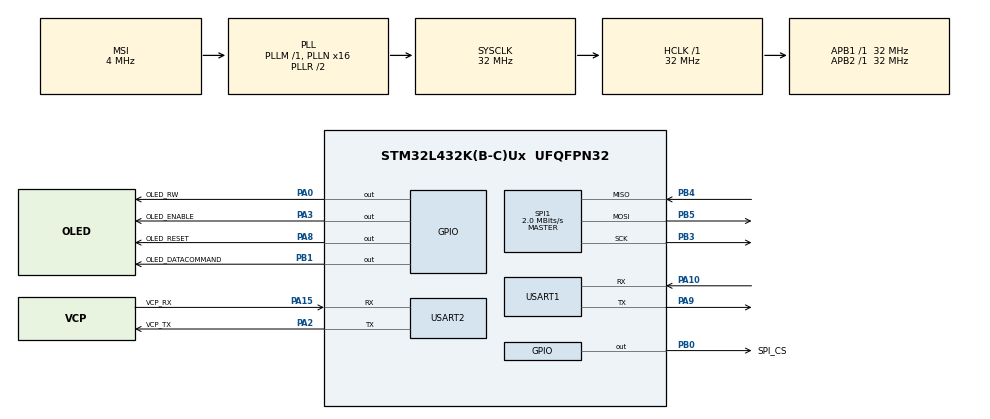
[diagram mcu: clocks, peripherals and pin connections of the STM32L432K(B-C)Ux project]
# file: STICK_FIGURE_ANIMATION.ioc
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Dma.Request0=USART1_TX
Dma.Request1=USART1_RX
Dma.USART1_RX.1.Direction=DMA_PERIPH_TO_MEMORY
Dma.USART1_RX.1.Instance=DMA1_Channel5
Dma.USART1_RX.1.MemDataAlignment=DMA_MDATAALIGN_BYTE
Dma.USART1_RX.1.MemInc=DMA_MINC_ENABLE
Dma.USART1_RX.1.Mode=DMA_CIRCULAR
Dma.USART1_RX.1.PeriphDataAlignment=DMA_PDATAALIGN_BYTE
Dma.USART1_RX.1.PeriphInc=DMA_PINC_DISABLE
Dma.USART1_RX.1.Priority=DMA_PRIORITY_LOW
Dma.USART1_TX.0.Direction=DMA_MEMORY_TO_PERIPH
Dma.USART1_TX.0.Instance=DMA1_Channel4
Dma.USART1_TX.0.MemDataAlignment=DMA_MDATAALIGN_BYTE
Dma.USART1_TX.0.MemInc=DMA_MINC_ENABLE
Dma.USART1_TX.0.Mode=DMA_NORMAL
Dma.USART1_TX.0.PeriphDataAlignment=DMA_PDATAALIGN_BYTE
Dma.USART1_TX.0.PeriphInc=DMA_PINC_DISABLE
Dma.USART1_TX.0.Priority=DMA_PRIORITY_LOW
FREERTOS.Mutexes01=m_oled_anim_spd,Static,m_oled_anim_spdControlBlock;m_oled_color_shft,Static,m_oled_color_shftControlBlock;m_wifi_transmit,Static,m_wifi_transmitControlBlock;m_wifi_received,Static,m_wifi_receivedControlBlock
FREERTOS.Tasks01=OledDisplayTask,24,256,StartOledDisplayTask,Default,NULL,Static,OledDisplayTaskBuffer,OledDisplayTaskControlBlock;WifiConnectTask,24,512,StartWifiConnectTask,Default,NULL,Static,WifiConnectTaskBuffer,WifiConnectTaskControlBlock;MsgHandleTask,24,512,StartMsgHandleTask,Default,NULL,Static,MsgHandleTaskBuffer,MsgHandleTaskControlBlock
FREERTOS.configUSE_NEWLIB_REENTRANT=1
Mcu.Family=STM32L4
Mcu.Name=STM32L432K(B-C)Ux
Mcu.Package=UFQFPN32
NVIC.DMA1_Channel4_IRQn=true\:5\:0\:false\:false\:true\:true\:false\:true\:true
NVIC.DMA1_Channel5_IRQn=true\:5\:0\:false\:false\:true\:true\:false\:true\:true
NVIC.PriorityGroup=NVIC_PRIORITYGROUP_4
NVIC.TIM6_DAC_IRQn=true\:15\:0\:false\:false\:true\:false\:false\:true\:true
NVIC.TimeBase=TIM6_DAC_IRQn
NVIC.TimeBaseIP=TIM6
NVIC.USART1_IRQn=true\:5\:0\:false\:false\:true\:true\:true\:true\:true
NVIC.USART2_IRQn=true\:5\:0\:false\:false\:true\:true\:true\:true\:true
PA0.GPIO_Label=OLED_RW
PA0.Signal=GPIO_Output
PA10.Mode=Asynchronous
PA10.Signal=USART1_RX
PA13\ (JTMS-SWDIO).GPIO_Label=SWDIO
PA13\ (JTMS-SWDIO).Mode=Serial_Wire
PA13\ (JTMS-SWDIO).Signal=SYS_JTMS-SWDIO
PA14\ (JTCK-SWCLK).GPIO_Label=SWCLK
PA14\ (JTCK-SWCLK).Mode=Serial_Wire
PA14\ (JTCK-SWCLK).Signal=SYS_JTCK-SWCLK
PA15\ (JTDI).GPIO_Label=VCP_RX
PA15\ (JTDI).Mode=Asynchronous
PA15\ (JTDI).Signal=USART2_RX
PA2.GPIO_Label=VCP_TX
PA2.Mode=Asynchronous
PA2.Signal=USART2_TX
PA3.GPIO_Label=OLED_ENABLE
PA3.PinState=GPIO_PIN_SET
PA3.Signal=GPIO_Output
PA8.GPIO_Label=OLED_RESET
PA8.PinState=GPIO_PIN_SET
PA8.Signal=GPIO_Output
PA9.Mode=Asynchronous
PA9.Signal=USART1_TX
PB0.GPIO_Label=SPI_CS
PB0.Signal=GPIO_Output
PB1.GPIO_Label=OLED_DATACOMMAND
PB1.PinState=GPIO_PIN_SET
PB1.Signal=GPIO_Output
PB3\ (JTDO-TRACESWO).Mode=Full_Duplex_Master
PB3\ (JTDO-TRACESWO).Signal=SPI1_SCK
PB4\ (NJTRST).Mode=Full_Duplex_Master
PB4\ (NJTRST).Signal=SPI1_MISO
PB5.Mode=Full_Duplex_Master
PB5.Signal=SPI1_MOSI
PC14-OSC32_IN\ (PC14).Mode=LSE-External-Oscillator
PC14-OSC32_IN\ (PC14).Signal=RCC_OSC32_IN
PC15-OSC32_OUT\ (PC15).Mode=LSE-External-Oscillator
PC15-OSC32_OUT\ (PC15).Signal=RCC_OSC32_OUT
ProjectManager.HeapSize=0x200
ProjectManager.StackSize=0x400
ProjectManager.TargetToolchain=STM32CubeIDE
RCC.AHBFreq_Value=32000000
RCC.APB1Freq_Value=32000000
RCC.APB1TimFreq_Value=32000000
RCC.APB2Freq_Value=32000000
RCC.APB2TimFreq_Value=32000000
RCC.CortexFreq_Value=32000000
RCC.HCLKFreq_Value=32000000
RCC.HSE_VALUE=8000000
RCC.HSI16_VALUE=16000000
RCC.HSI48_VALUE=48000000
RCC.HSI_VALUE=16000000
RCC.MSI_VALUE=4000000
RCC.PLLMUL=RCC_PLLMUL_4
RCC.PLLN=16
RCC.SYSCLKFreq_VALUE=32000000
RCC.SYSCLKSource=RCC_SYSCLKSOURCE_PLLCLK
RCC.VCOOutputFreq_Value=64000000
SPI1.BaudRatePrescaler=SPI_BAUDRATEPRESCALER_16
SPI1.CalculateBaudRate=2.0 MBits/s
SPI1.DataSize=SPI_DATASIZE_8BIT
SPI1.Direction=SPI_DIRECTION_2LINES
SPI1.Mode=SPI_MODE_MASTER
SPI1.VirtualType=VM_MASTER
USART1.VirtualMode-Asynchronous=VM_ASYNC
USART2.VirtualMode-Asynchronous=VM_ASYNC
VP_FREERTOS_VS_CMSIS_V2.Mode=CMSIS_V2
VP_SYS_VS_tim6.Mode=TIM6
board=NUCLEO-L432KC

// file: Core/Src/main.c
/* USER CODE BEGIN Header */
/**
 ******************************************************************************
 * @file           : main.c
 * @brief          : Main program body
 ******************************************************************************
 * @attention
 *
 * Copyright (c) 2022 Michael Kirchhofer - FH Technikum Wien
 *
 * This program utilises the Mikroe OLED C-, as well as the ESP32Wroom Click
 * to display a short animation on the OLED Module. The User can use a Axis-
 * Input on the partner MCU to invert the colour of the LED Display, as well as
 * the animation speed.
 *
 ******************************************************************************
 */
/* USER CODE END Header */
#include "main.h"
#include "cmsis_os.h"

/* USER CODE BEGIN Includes */
#include <stdbool.h>
#include <stdio.h>
#include <string.h>
#include <stdlib.h>
#include "wifi_cmd.h"
#include "oled_c_cmd.h"
#include "oled_c_image.h"
#include "oled_ssd1351.h"
/* USER CODE END Includes */

typedef StaticTask_t osStaticThreadDef_t;
typedef StaticSemaphore_t osStaticMutexDef_t;

 SPI_HandleTypeDef hspi1;

UART_HandleTypeDef huart1;
UART_HandleTypeDef huart2;
DMA_HandleTypeDef hdma_usart1_tx;
DMA_HandleTypeDef hdma_usart1_rx;

/* Definitions for OledDisplayTask */
osThreadId_t OledDisplayTaskHandle;
uint32_t OledDisplayTaskBuffer[ 256 ];
osStaticThreadDef_t OledDisplayTaskControlBlock;
const osThreadAttr_t OledDisplayTask_attributes = {
  .name = "OledDisplayTask",
  .cb_mem = &OledDisplayTaskControlBlock,
  .cb_size = sizeof(OledDisplayTaskControlBlock),
  .stack_mem = &OledDisplayTaskBuffer[0],
  .stack_size = sizeof(OledDisplayTaskBuffer),
  .priority = (osPriority_t) osPriorityNormal,
};
/* Definitions for WifiConnectTask */
osThreadId_t WifiConnectTaskHandle;
uint32_t WifiConnectTaskBuffer[ 512 ];
osStaticThreadDef_t WifiConnectTaskControlBlock;
const osThreadAttr_t WifiConnectTask_attributes = {
  .name = "WifiConnectTask",
  .cb_mem = &WifiConnectTaskControlBlock,
  .cb_size = sizeof(WifiConnectTaskControlBlock),
  .stack_mem = &WifiConnectTaskBuffer[0],
  .stack_size = sizeof(WifiConnectTaskBuffer),
  .priority = (osPriority_t) osPriorityNormal,
};
/* Definitions for MsgHandleTask */
osThreadId_t MsgHandleTaskHandle;
uint32_t MsgHandleTaskBuffer[ 512 ];
osStaticThreadDef_t MsgHandleTaskControlBlock;
const osThreadAttr_t MsgHandleTask_attributes = {
  .name = "MsgHandleTask",
  .cb_mem = &MsgHandleTaskControlBlock,
  .cb_size = sizeof(MsgHandleTaskControlBlock),
  .stack_mem = &MsgHandleTaskBuffer[0],
  .stack_size = sizeof(MsgHandleTaskBuffer),
  .priority = (osPriority_t) osPriorityNormal,
};
/* Definitions for m_oled_anim_spd */
osMutexId_t m_oled_anim_spdHandle;
osStaticMutexDef_t m_oled_anim_spdControlBlock;
const osMutexAttr_t m_oled_anim_spd_attributes = {
  .name = "m_oled_anim_spd",
  .cb_mem = &m_oled_anim_spdControlBlock,
  .cb_size = sizeof(m_oled_anim_spdControlBlock),
};
/* Definitions for m_oled_color_shft */
osMutexId_t m_oled_color_shftHandle;
osStaticMutexDef_t m_oled_color_shftControlBlock;
const osMutexAttr_t m_oled_color_shft_attributes = {
  .name = "m_oled_color_shft",
  .cb_mem = &m_oled_color_shftControlBlock,
  .cb_size = sizeof(m_oled_color_shftControlBlock),
};
/* Definitions for m_wifi_transmit */
osMutexId_t m_wifi_transmitHandle;
osStaticMutexDef_t m_wifi_transmitControlBlock;
const osMutexAttr_t m_wifi_transmit_attributes = {
  .name = "m_wifi_transmit",
  .cb_mem = &m_wifi_transmitControlBlock,
  .cb_size = sizeof(m_wifi_transmitControlBlock),
};
/* Definitions for m_wifi_received */
osMutexId_t m_wifi_receivedHandle;
osStaticMutexDef_t m_wifi_receivedControlBlock;
const osMutexAttr_t m_wifi_received_attributes = {
  .name = "m_wifi_received",
  .cb_mem = &m_wifi_receivedControlBlock,
  .cb_size = sizeof(m_wifi_receivedControlBlock),
};
/* USER CODE BEGIN PV */

static uint32_t g_oled_anim_spd = OLED_ANIM_SPD_DFLT;
static bool g_oled_color_shft = false;
static bool g_wifi_transmit = false;
static bool g_wifi_received = false;

/* USER CODE END PV */

void SystemClock_Config(void);
static void MX_GPIO_Init(void);
static void MX_USART2_UART_Init(void);
static void MX_DMA_Init(void);
static void MX_USART1_UART_Init(void);
static void MX_SPI1_Init(void);
void StartOledDisplayTask(void *argument);
void StartWifiConnectTask(void *argument);
void StartMsgHandleTask(void *argument);

/* USER CODE BEGIN PFP */
uint16_t __io_putchar(uint16_t ch);
uint16_t _write(uint16_t file, char *buf, uint16_t len);

/* USER CODE END PFP */

int main(void)
{

  /* MCU Configuration--------------------------------------------------------*/

  /* Reset of all peripherals, Initializes the Flash interface and the Systick. */
  HAL_Init();

  /* Configure the system clock */
  SystemClock_Config();

  /* Initialize all configured peripherals */
  MX_GPIO_Init();
  MX_USART2_UART_Init();
  MX_DMA_Init();
  MX_USART1_UART_Init();
  MX_SPI1_Init();
  /* USER CODE BEGIN 2 */
  SSD1351_Init();

  /* USER CODE END 2 */

  /* Init scheduler */
  osKernelInitialize();
  /* Create the mutex(es) */
  /* creation of m_oled_anim_spd */
  m_oled_anim_spdHandle = osMutexNew(&m_oled_anim_spd_attributes);

  /* creation of m_oled_color_shft */
  m_oled_color_shftHandle = osMutexNew(&m_oled_color_shft_attributes);

  /* creation of m_wifi_transmit */
  m_wifi_transmitHandle = osMutexNew(&m_wifi_transmit_attributes);

  /* creation of m_wifi_received */
  m_wifi_receivedHandle = osMutexNew(&m_wifi_received_attributes);

  /* Create the thread(s) */
  /* creation of OledDisplayTask */
  OledDisplayTaskHandle = osThreadNew(StartOledDisplayTask, NULL, &OledDisplayTask_attributes);

  /* creation of WifiConnectTask */
  WifiConnectTaskHandle = osThreadNew(StartWifiConnectTask, NULL, &WifiConnectTask_attributes);

  /* creation of MsgHandleTask */
  MsgHandleTaskHandle = osThreadNew(StartMsgHandleTask, NULL, &MsgHandleTask_attributes);

  /* Start scheduler */
  osKernelStart();

  /* We should never get here as control is now taken by the scheduler */
  /* Infinite loop */
	while (1) {

	}
}

void SystemClock_Config(void)
{
  RCC_OscInitTypeDef RCC_OscInitStruct = {0};
  RCC_ClkInitTypeDef RCC_ClkInitStruct = {0};

  /** Configure the main internal regulator output voltage
  */
  if (HAL_PWREx_ControlVoltageScaling(PWR_REGULATOR_VOLTAGE_SCALE1) != HAL_OK)
  {
    Error_Handler();
  }

  /** Configure LSE Drive Capability
  */
  HAL_PWR_EnableBkUpAccess();
  __HAL_RCC_LSEDRIVE_CONFIG(RCC_LSEDRIVE_LOW);

  /** Initializes the RCC Oscillators according to the specified parameters
  * in the RCC_OscInitTypeDef structure.
  */
  RCC_OscInitStruct.OscillatorType = RCC_OSCILLATORTYPE_LSE|RCC_OSCILLATORTYPE_MSI;
  RCC_OscInitStruct.LSEState = RCC_LSE_ON;
  RCC_OscInitStruct.MSIState = RCC_MSI_ON;
  RCC_OscInitStruct.MSICalibrationValue = 0;
  RCC_OscInitStruct.MSIClockRange = RCC_MSIRANGE_6;
  RCC_OscInitStruct.PLL.PLLState = RCC_PLL_ON;
  RCC_OscInitStruct.PLL.PLLSource = RCC_PLLSOURCE_MSI;
  RCC_OscInitStruct.PLL.PLLM = 1;
  RCC_OscInitStruct.PLL.PLLN = 16;
  RCC_OscInitStruct.PLL.PLLP = RCC_PLLP_DIV7;
  RCC_OscInitStruct.PLL.PLLQ = RCC_PLLQ_DIV2;
  RCC_OscInitStruct.PLL.PLLR = RCC_PLLR_DIV2;
  if (HAL_RCC_OscConfig(&RCC_OscInitStruct) != HAL_OK)
  {
    Error_Handler();
  }

  /** Initializes the CPU, AHB and APB buses clocks
  */
  RCC_ClkInitStruct.ClockType = RCC_CLOCKTYPE_HCLK|RCC_CLOCKTYPE_SYSCLK
                              |RCC_CLOCKTYPE_PCLK1|RCC_CLOCKTYPE_PCLK2;
  RCC_ClkInitStruct.SYSCLKSource = RCC_SYSCLKSOURCE_PLLCLK;
  RCC_ClkInitStruct.AHBCLKDivider = RCC_SYSCLK_DIV1;
  RCC_ClkInitStruct.APB1CLKDivider = RCC_HCLK_DIV1;
  RCC_ClkInitStruct.APB2CLKDivider = RCC_HCLK_DIV1;

  if (HAL_RCC_ClockConfig(&RCC_ClkInitStruct, FLASH_LATENCY_1) != HAL_OK)
  {
    Error_Handler();
  }

  /** Enable MSI Auto calibration
  */
  HAL_RCCEx_EnableMSIPLLMode();
}

static void MX_SPI1_Init(void)
{

  /* SPI1 parameter configuration*/
  hspi1.Instance = SPI1;
  hspi1.Init.Mode = SPI_MODE_MASTER;
  hspi1.Init.Direction = SPI_DIRECTION_2LINES;
  hspi1.Init.DataSize = SPI_DATASIZE_8BIT;
  hspi1.Init.CLKPolarity = SPI_POLARITY_LOW;
  hspi1.Init.CLKPhase = SPI_PHASE_1EDGE;
  hspi1.Init.NSS = SPI_NSS_SOFT;
  hspi1.Init.BaudRatePrescaler = SPI_BAUDRATEPRESCALER_16;
  hspi1.Init.FirstBit = SPI_FIRSTBIT_MSB;
  hspi1.Init.TIMode = SPI_TIMODE_DISABLE;
  hspi1.Init.CRCCalculation = SPI_CRCCALCULATION_DISABLE;
  hspi1.Init.CRCPolynomial = 7;
  hspi1.Init.CRCLength = SPI_CRC_LENGTH_DATASIZE;
  hspi1.Init.NSSPMode = SPI_NSS_PULSE_ENABLE;
  if (HAL_SPI_Init(&hspi1) != HAL_OK)
  {
    Error_Handler();
  }

}

static void MX_USART1_UART_Init(void)
{

  huart1.Instance = USART1;
  huart1.Init.BaudRate = 115200;
  huart1.Init.WordLength = UART_WORDLENGTH_8B;
  huart1.Init.StopBits = UART_STOPBITS_1;
  huart1.Init.Parity = UART_PARITY_NONE;
  huart1.Init.Mode = UART_MODE_TX_RX;
  huart1.Init.HwFlowCtl = UART_HWCONTROL_NONE;
  huart1.Init.OverSampling = UART_OVERSAMPLING_16;
  huart1.Init.OneBitSampling = UART_ONE_BIT_SAMPLE_DISABLE;
  huart1.AdvancedInit.AdvFeatureInit = UART_ADVFEATURE_NO_INIT;
  if (HAL_UART_Init(&huart1) != HAL_OK)
  {
    Error_Handler();
  }

}

static void MX_USART2_UART_Init(void)
{

  huart2.Instance = USART2;
  huart2.Init.BaudRate = 115200;
  huart2.Init.WordLength = UART_WORDLENGTH_8B;
  huart2.Init.StopBits = UART_STOPBITS_1;
  huart2.Init.Parity = UART_PARITY_NONE;
  huart2.Init.Mode = UART_MODE_TX_RX;
  huart2.Init.HwFlowCtl = UART_HWCONTROL_NONE;
  huart2.Init.OverSampling = UART_OVERSAMPLING_16;
  huart2.Init.OneBitSampling = UART_ONE_BIT_SAMPLE_DISABLE;
  huart2.AdvancedInit.AdvFeatureInit = UART_ADVFEATURE_NO_INIT;
  if (HAL_UART_Init(&huart2) != HAL_OK)
  {
    Error_Handler();
  }

}

static void MX_DMA_Init(void)
{

  /* DMA controller clock enable */
  __HAL_RCC_DMA1_CLK_ENABLE();

  /* DMA interrupt init */
  /* DMA1_Channel4_IRQn interrupt configuration */
  HAL_NVIC_SetPriority(DMA1_Channel4_IRQn, 5, 0);
  HAL_NVIC_EnableIRQ(DMA1_Channel4_IRQn);
  /* DMA1_Channel5_IRQn interrupt configuration */
  HAL_NVIC_SetPriority(DMA1_Channel5_IRQn, 5, 0);
  HAL_NVIC_EnableIRQ(DMA1_Channel5_IRQn);

}

static void MX_GPIO_Init(void)
{
  GPIO_InitTypeDef GPIO_InitStruct = {0};

  /* GPIO Ports Clock Enable */
  __HAL_RCC_GPIOC_CLK_ENABLE();
  __HAL_RCC_GPIOA_CLK_ENABLE();
  __HAL_RCC_GPIOB_CLK_ENABLE();

  /*Configure GPIO pin Output Level */
  HAL_GPIO_WritePin(OLED_RW_GPIO_Port, OLED_RW_Pin, GPIO_PIN_RESET);

  /*Configure GPIO pin Output Level */
  HAL_GPIO_WritePin(GPIOA, OLED_ENABLE_Pin|OLED_RESET_Pin, GPIO_PIN_SET);

  /*Configure GPIO pin Output Level */
  HAL_GPIO_WritePin(SPI_CS_GPIO_Port, SPI_CS_Pin, GPIO_PIN_RESET);

  /*Configure GPIO pin Output Level */
  HAL_GPIO_WritePin(OLED_DATACOMMAND_GPIO_Port, OLED_DATACOMMAND_Pin, GPIO_PIN_SET);

  /*Configure GPIO pins : OLED_RW_Pin OLED_ENABLE_Pin OLED_RESET_Pin */
  GPIO_InitStruct.Pin = OLED_RW_Pin|OLED_ENABLE_Pin|OLED_RESET_Pin;
  GPIO_InitStruct.Mode = GPIO_MODE_OUTPUT_PP;
  GPIO_InitStruct.Pull = GPIO_NOPULL;
  GPIO_InitStruct.Speed = GPIO_SPEED_FREQ_LOW;
  HAL_GPIO_Init(GPIOA, &GPIO_InitStruct);

  /*Configure GPIO pins : SPI_CS_Pin OLED_DATACOMMAND_Pin */
  GPIO_InitStruct.Pin = SPI_CS_Pin|OLED_DATACOMMAND_Pin;
  GPIO_InitStruct.Mode = GPIO_MODE_OUTPUT_PP;
  GPIO_InitStruct.Pull = GPIO_NOPULL;
  GPIO_InitStruct.Speed = GPIO_SPEED_FREQ_LOW;
  HAL_GPIO_Init(GPIOB, &GPIO_InitStruct);

}

/* USER CODE BEGIN 4 */
/**
 * @brief  Function sends a character via USART interface in interrupt mode
 * and configures printf to send via USART
 * @param  argument: uint16_t char
 * @retval uint16_t char
 */
uint16_t __io_putchar(uint16_t ch) {
	uint16_t ret;
	while ((ret = HAL_UART_GetState(&huart2)) != HAL_UART_STATE_READY)
		;
	if (ch == '\n') {
		static unsigned char buf2[2] = { '\r', '\n' };
		HAL_UART_Transmit_IT(&huart2, buf2, 2);
	} else {
		static unsigned char buf;
		buf = (char) ch;
		HAL_UART_Transmit_IT(&huart2, &buf, 1);
	}
	return ch;
}

/**
 * @brief  Function splits string into characters for __io_putchar function
 * @param  argument: uint16_t file, char *buf, uint16_t len
 * @retval uint16_t length;
 */
uint16_t _write(uint16_t file, char *buf, uint16_t len) {
	uint16_t count = len;
	while (count-- > 0) {
		__io_putchar(*buf++);
	}
	return len;
}

/**
 * @brief  Function implements the receiving of incoming wifi messages
 * @param  argument: USART Handle, Size of Message
 * @retval none
 */
void HAL_UARTEx_RxEventCallback(UART_HandleTypeDef *huart, uint16_t Size) {

	/* Receive event handler
	 * Mutexes and Semaphores are blocked by this callback
	 * Leave callback as soon as possible to enable mcu to  handle other tasks
	 */

	g_wifi_received = true;

}

/* USER CODE END 4 */

/* USER CODE BEGIN Header_StartOledDisplayTask */
/**
 * @brief  Function implementing the OLED display handler, which handles
 * 		Wifi sent commands via the changing of the animation speed and
 * 		a possible inversion of the image colour if the corresponding
 * 		command has been received
 * @param  argument: Not used
 * @retval None
 */
/* USER CODE END Header_StartOledDisplayTask */
void StartOledDisplayTask(void *argument)
{
  /* USER CODE BEGIN 5 */
int swt = 0;
uint32_t anim_spd = OLED_ANIM_SPD_DFLT;
bool color_shft = false;
SSD1351_FillScreen(0xFFFF);
printf("OLED initialisation complete !\n");
osDelay(10);
/* Infinite loop */
for (;;) {
//----------------------------------Accessing Mutexes--------------------------------------------------
	if (osMutexAcquire(m_oled_anim_spdHandle, 100) != osOK) {
		printf("Error in acquiring mutex m_oled_anim_spdHandle !\n");
	} else {
		// Set anim_spd to potentially changed animation speed
		anim_spd = g_oled_anim_spd;

		if (osMutexRelease(m_oled_anim_spdHandle) != osOK) {
			printf("Error in releasing mutex m_oled_anim_spdHandle !\n");
		}
	}

	if (osMutexAcquire(m_oled_color_shftHandle, 100) != osOK) {
		printf("Error in acquiring mutex m_oled_color_shftHandle !\n");
	} else {
		// Set if color_shift flag has been sent
		color_shft = g_oled_color_shft;

		if (osMutexRelease(m_oled_color_shftHandle) != osOK) {
			printf("Error in releasing mutex m_oled_color_shftHandle !\n");
		}
	}
//---------------------------------------------------------------------------------------------------

	//Invert display colors
	SSD1351_InvertColors(color_shft);

	//Cycle frames to create animation
	switch (swt) {
	case 0:
		SSD1351_DrawImage(OLED_X_POS, OLED_Y_POS, OLED_IMG_DIM,
		OLED_IMG_DIM, stick_bmp[swt]);
		swt++;
		break;
	case 1:
		SSD1351_DrawImage(OLED_X_POS, OLED_Y_POS, OLED_IMG_DIM,
		OLED_IMG_DIM, stick_bmp[swt]);
		swt++;
		break;
	case 2:
		SSD1351_DrawImage(OLED_X_POS, OLED_Y_POS, OLED_IMG_DIM,
		OLED_IMG_DIM, stick_bmp[swt]);
		swt++;
		break;
	case 3:
		SSD1351_DrawImage(OLED_X_POS, OLED_Y_POS, OLED_IMG_DIM,
		OLED_IMG_DIM, stick_bmp[swt]);
		swt++;
		break;
	case 4:
		SSD1351_DrawImage(OLED_X_POS, OLED_Y_POS, OLED_IMG_DIM,
		OLED_IMG_DIM, stick_bmp[swt]);
		swt++;
		break;
	case 5:
		SSD1351_DrawImage(OLED_X_POS, OLED_Y_POS, OLED_IMG_DIM,
		OLED_IMG_DIM, stick_bmp[swt]);
		swt = 0;
		break;
	case 99:
		if(anim_spd != OLED_ANIM_SPD_DFLT){
			swt = 0;
		}
		break;
	default:
		break;
	}

	osDelay(anim_spd);
}
  /* USER CODE END 5 */
}

/* USER CODE BEGIN Header_StartWifiConnectTask */
/**
 * @brief Function implementing the wifi communication with another
 * 		 MCU. After the init is complete, the Module starts to
 * 		 query for receive / transmit requests
 * @param argument: Not used
 * @retval None
 */
/* USER CODE END Header_StartWifiConnectTask */
void StartWifiConnectTask(void *argument)
{
  /* USER CODE BEGIN StartWifiConnectTask */

uint8_t wifi_send_buf[WIFI_TX_BUF_SIZE];
memset(wifi_send_buf, '\0', sizeof(wifi_send_buf));

bool wifi_transmit = false;

//Init Wifi AP
wifi_init_AP(&huart1);

printf("Wifi AP initialisation complete!\n");
/* Infinite loop */
for (;;) {
	// Set local transmit flag for operation / set global flag to false
	if (osMutexAcquire(m_wifi_transmitHandle, 100) != osOK) {
		printf("Error in acquiring mutex m_wifi_transmitHandle !\n");
	} else {

		wifi_transmit = g_wifi_transmit;
		g_wifi_transmit = false;

		if (osMutexRelease(m_wifi_transmitHandle) != osOK) {
			printf("Error in releasing mutex m_wifi_transmitHandle !\n");
		}
	}

	//Send only when flag has been set / Sending is only implemented in one direction, so this flag will always be false
	if (wifi_transmit) {
		sprintf((char*) wifi_send_buf, "%s0,%d\r\n", WIFI_SND_MSG,WIFI_RX_BUF_SIZE);
		HAL_UART_Transmit_DMA(&huart1, wifi_send_buf,sizeof((char*) wifi_send_buf));
		wifi_transmit = false;
		osDelay(WIFI_CMD_DELAY_LONG);
	} else {
		//printf("Ready to receive Data!\n");
		osDelay(WIFI_CMD_DELAY_LONG);
	}

}
  /* USER CODE END StartWifiConnectTask */
}

/* USER CODE BEGIN Header_StartMsgHandleTask */
/**
 * @brief Function that handles the received wifi input and sets the animation handler parameters
 * @param argument: Not used
 * @retval None
 */
/* USER CODE END Header_StartMsgHandleTask */
void StartMsgHandleTask(void *argument)
{
  /* USER CODE BEGIN StartMsgHandleTask */

//Wifi receive buffer
uint8_t wifi_msg_buf[WIFI_RX_BUF_SIZE];
memset(wifi_msg_buf,'X',sizeof(wifi_msg_buf));

//Input parameters that get handed down to the animation handler
bool color_shft;
int anim_spd = 0;

//Flags that are set if a corresponding input has been received
bool update_parameters = false;
bool wifi_received = false;

//Helper variables
char i_anim_spd[4];
char *anim_msg;
char *ip_pkg;
char *clt_connect_msg;
//Start receiving uart input over DMA / disable halftransmit interrupt
HAL_UARTEx_ReceiveToIdle_DMA(&huart1, wifi_msg_buf, WIFI_RX_BUF_SIZE);
__HAL_DMA_DISABLE_IT(&hdma_usart1_rx, DMA_IT_HT);

/* Infinite loop */
for (;;) {
	if (osMutexAcquire(m_wifi_receivedHandle, 100) != osOK) {
		printf("Error in acquiring binary semaphore m_wifi_receivedHandle!\n");
	} else {
		wifi_received = g_wifi_received;
		g_wifi_received = false;

		if (osMutexRelease(m_wifi_receivedHandle) != osOK) {
			printf(
					"Error in releasing binary semaphore m_wifi_receivedHandle!\n");
		}

	}

	if (wifi_received) {
		wifi_received = false;

		//Search for parameters
		anim_msg = strchr((char*) wifi_msg_buf, '#');
		//Search for IP data package
		ip_pkg = strstr((char *)wifi_msg_buf,"+IPD");
		//Search for connection occured
		clt_connect_msg = strstr((char *)wifi_msg_buf,"CONNECT");

		if(clt_connect_msg!=NULL){
			printf("Client connected to TCP Port 333\n");
		}

		if (anim_msg != NULL) {
			printf("IP Package: %.35s \nLength: %d\n",ip_pkg,strlen(ip_pkg));
			printf("Animation Parameter: %.10s\n",anim_msg);
			if (anim_msg[1] == '-' && anim_msg[2] == 'i' && anim_msg[4] == '-' && anim_msg[5] == 's') {

				//Invert Flag
				switch (anim_msg[3]) {
				case '0':
					color_shft = false;
					break;
				case '1':
					color_shft = true;
					break;
				default:
					color_shft = false;
					break;
				}

				//Animation Speed parameter
				i_anim_spd[0] = anim_msg[6];
				i_anim_spd[1] = anim_msg[7];
				i_anim_spd[2] = anim_msg[8];
				i_anim_spd[3] = anim_msg[9];

				anim_spd = atoi(i_anim_spd);
				//If incorrect value has been send, remain at default value
				if (anim_spd <= 1000 && anim_spd > 5000) {
					anim_spd = OLED_ANIM_SPD_DFLT;
				}

				update_parameters = true;
			}
		}

		//ONLY change run parameters if input has been received
		if (update_parameters) {
			update_parameters = false;
			if (osMutexAcquire(m_oled_anim_spdHandle, 100) != osOK) {
				printf("Error in acquiring mutex m_oled_anim_spdHandle!\n");
			} else {

				g_oled_anim_spd = (uint32_t) anim_spd;

				if (osMutexRelease(m_oled_anim_spdHandle) != osOK) {
					printf("Error in releasing mutex m_oled_anim_spdHandle!\n");
				}
			}

			if (osMutexAcquire(m_oled_color_shftHandle, 100) != osOK) {
				printf("Error in acquiring mutex m_oled_color_shftHandle!\n");
			} else {

				g_oled_color_shft = color_shft;

				if (osMutexRelease(m_oled_color_shftHandle) != osOK) {
					printf(
							"Error in releasing mutex m_oled_color_shftHandle!\n");
				}
			}
		}

		memset(wifi_msg_buf,'X',sizeof(wifi_msg_buf));
		HAL_UARTEx_ReceiveToIdle_DMA(&huart1, wifi_msg_buf,WIFI_RX_BUF_SIZE);
		__HAL_DMA_DISABLE_IT(&hdma_usart1_rx, DMA_IT_HT);
	}
	osDelay(WIFI_RCV_DELAY);
}

  /* USER CODE END StartMsgHandleTask */
}

void HAL_TIM_PeriodElapsedCallback(TIM_HandleTypeDef *htim)
{
  if (htim->Instance == TIM6) {
    HAL_IncTick();
  }
}

void Error_Handler(void)
{
  /* USER CODE BEGIN Error_Handler_Debug */
/* User can add his own implementation to report the HAL error return state */

TickType_t ticks;

ticks = xTaskGetTickCount();
__disable_irq();
while (1) {
	printf("Runtime Error occurred after %d !\n Please press RST Button !\n",
			(int) ticks);

}
  /* USER CODE END Error_Handler_Debug */
}
